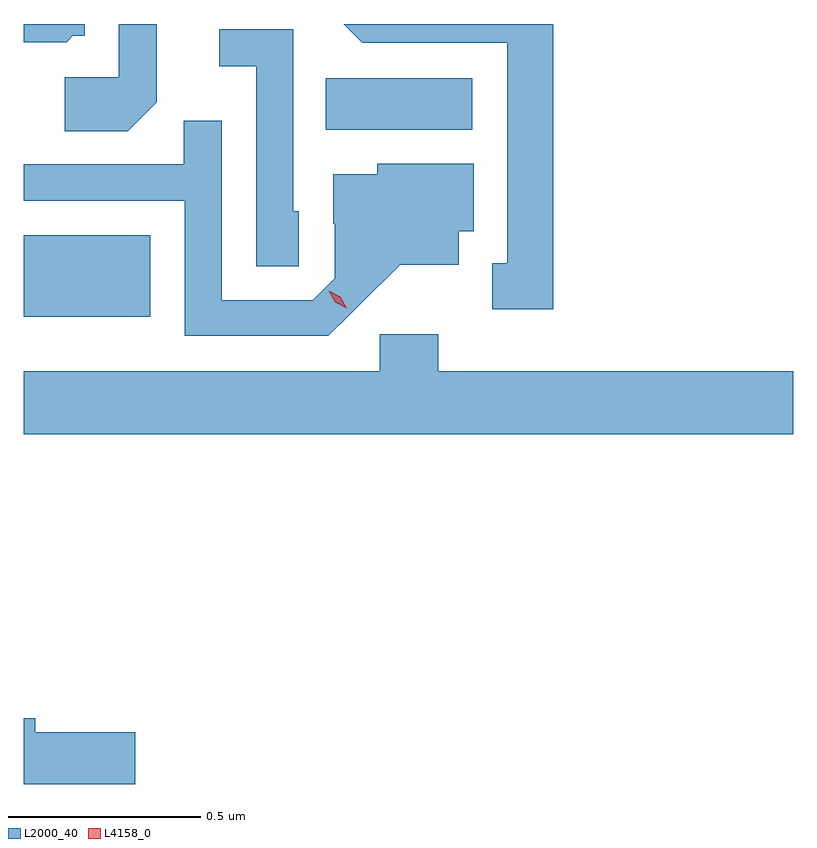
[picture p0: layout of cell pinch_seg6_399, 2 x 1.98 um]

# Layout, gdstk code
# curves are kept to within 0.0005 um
import gdstk
lib = gdstk.Library(unit=1e-6, precision=1e-09)
def R(c, l, rs):  # rectangles x0, y0, x1, y1
    for r in rs: c.add(gdstk.rectangle(r[:2], r[2:], *l))
def P(c, l, *ps):  # polygons
    for p in ps: c.add(gdstk.Polygon(p, *l))
L2000_40 = (2000, 40)
L4158_0 = (4158, 0)

pinch_seg6_399 = lib.new_cell('pinch_seg6_399')
R(pinch_seg6_399, L2000_40, [(673.157,924.998,673.486,925.21), (673.942,925.484,674.323,925.618)])
P(pinch_seg6_399, L2000_40, [(673.503,925.556),(673.503,925.759),(673.404,925.759),(673.404,925.62),(673.263,925.62),(673.263,925.48),(673.427,925.48)],
  [(674.533,925.759),(673.988,925.759),(674.037,925.71),(674.414,925.71),(674.414,925.137),(674.375,925.137),(674.375,925.017),(674.533,925.017)],
  [(673.284,925.728),(673.315,925.728),(673.315,925.759),(673.157,925.759),(673.157,925.712),(673.268,925.712)],
  [(673.872,925.272),(673.857,925.272),(673.857,925.746),(673.665,925.746),(673.665,925.649),(673.761,925.649),(673.761,925.129),(673.872,925.129)],
  [(674.005,925.005),(674.135,925.133),(674.287,925.133),(674.287,925.22),(674.326,925.22),(674.326,925.396),(674.076,925.396),(674.076,925.369),(673.961,925.369),(673.961,925.24),(673.965,925.24),(673.965,925.098),(673.908,925.041),(673.671,925.041),(673.671,925.508),(673.573,925.508),(673.573,925.395),(673.157,925.395),(673.157,925.299),(673.575,925.299),(673.575,924.948),(673.948,924.948)],
  [(675.157,924.856),(674.234,924.856),(674.234,924.952),(674.082,924.952),(674.082,924.856),(673.157,924.856),(673.157,924.692),(675.157,924.692)],
  [(673.447,923.918),(673.186,923.918),(673.186,923.954),(673.157,923.954),(673.157,923.783),(673.447,923.783)])
P(pinch_seg6_399, L4158_0, [(673.996,925.02),(673.966,925.036),(673.949,925.065),(673.949,925.066),(673.95,925.066),(673.98,925.05),(673.996,925.02),(673.996,925.02)])

lib.write_gds('pinch_seg6_399.gds')
